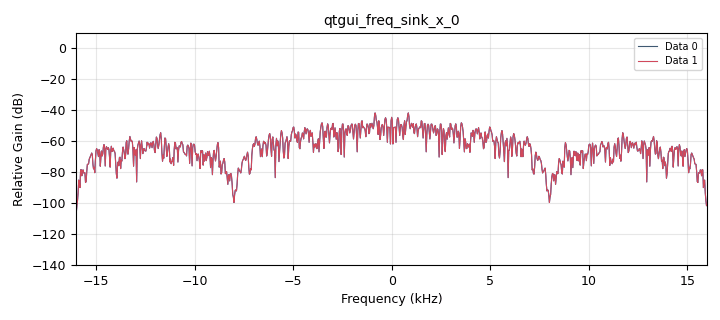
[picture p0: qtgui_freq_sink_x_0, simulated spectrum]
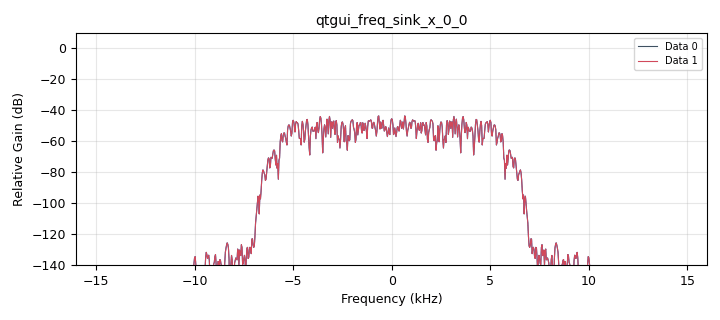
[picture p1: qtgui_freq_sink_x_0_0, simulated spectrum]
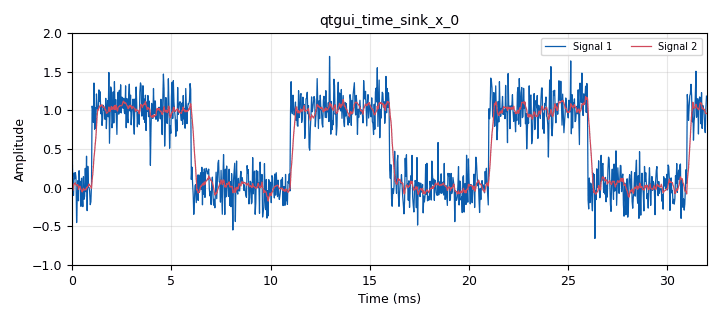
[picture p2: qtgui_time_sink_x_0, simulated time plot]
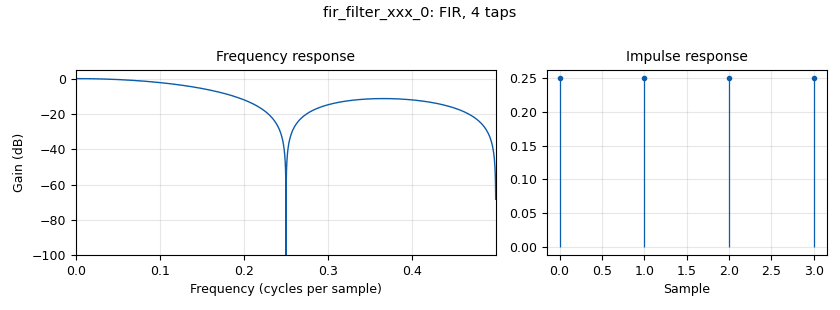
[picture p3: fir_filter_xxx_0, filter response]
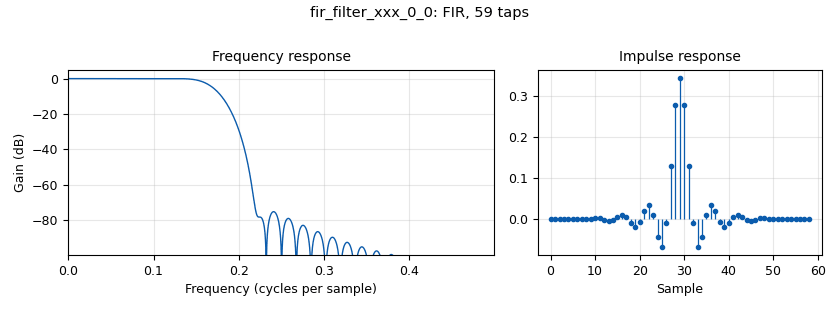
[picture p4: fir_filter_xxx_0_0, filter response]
options:
  parameters:
    generate_options: qt_gui
    id: fir
    output_language: python
    title: Not titled yet
  states: {}

blocks:
- name: samp_rate
  id: variable
  parameters:
    value: '32000'
  states: {}
- name: analog_noise_source_x_0
  id: analog_noise_source_x
  parameters:
    amp: '0.2'
    noise_type: analog.GR_GAUSSIAN
    seed: '0'
    type: float
  states: {}
- name: analog_sig_source_x_0
  id: analog_sig_source_x
  parameters:
    amp: '1'
    freq: '100'
    offset: '0'
    phase: '0'
    samp_rate: samp_rate
    type: float
    waveform: analog.GR_SQR_WAVE
  states: {}
- name: blocks_add_xx_0
  id: blocks_add_xx
  parameters:
    type: float
  states: {}
- name: blocks_throttle_0
  id: blocks_throttle
  parameters:
    samples_per_second: samp_rate
    type: float
  states: {}
- name: blocks_throttle_0_0
  id: blocks_throttle
  parameters:
    samples_per_second: samp_rate
    type: float
  states: {}
- name: epy_block_2
  id: epy_block
  parameters:
    _source_code: |
      """
      Embedded Python Blocks:

      Each time this file is saved, GRC will instantiate the first class it finds
      to get ports and parameters of your block. The arguments to __init__  will
      be the parameters. All of them are required to have default values!
      """

      import numpy as np
      from gnuradio import gr


      class blk(gr.sync_block):  # other base classes are basic_block, decim_block, interp_block

          def __init__(self, filter_taps=[0.25, 0.25, 0.25, 0.25]):  # only default arguments here
              """arguments to this function show up as parameters in GRC"""
              gr.sync_block.__init__(
                  self,
                  name='Custom FIR filter',   # will show up in GRC
                  in_sig=[np.float32],
                  out_sig=[np.float32]
              )
              
              self.filter_taps = filter_taps
              self.N = len(filter_taps)
              self.set_history(self.N)
              
              #Example: The comand set_history(N) appends the first N-1 previous items 
              #to the input buffer (input_items), while the N'th item is the current value. 
              #E.g. if N=4:
              #input_items[0][3] is the beginning of the current input stream.
              #input_items[0][2] is one input older than the current input stream.
              #input_items[0][1] is one input older than input_items[0][2]
              #input_items[0][0] is one input older than input_items[0][1]

          def work(self, input_items, output_items):
              
              #print("length of input vector =" + str(len(input_items[0])))
              #print("length of output vector ="+ str(len(output_items[0])))
              
              for i in range(0, len(output_items[0])):
                  output_items[0][i] = 0
                  for j in range(0, self.N):
                      output_items[0][i] = output_items[0][i] + input_items[0][i + self.N - 1 - j] * self.filter_taps[j]
                       
              return len(output_items[0])
    filter_taps: '[0.25, 0.25, 0.25, 0.25]'
  states: {}
- name: epy_block_2_0
  id: epy_block
  parameters:
    _source_code: |
      """
      Embedded Python Blocks:

      Each time this file is saved, GRC will instantiate the first class it finds
      to get ports and parameters of your block. The arguments to __init__  will
      be the parameters. All of them are required to have default values!
      """

      import numpy as np
      from gnuradio import gr


      class blk(gr.sync_block):  # other base classes are basic_block, decim_block, interp_block

          def __init__(self, filter_taps=[0.25, 0.25, 0.25, 0.25]):  # only default arguments here
              """arguments to this function show up as parameters in GRC"""
              gr.sync_block.__init__(
                  self,
                  name='Custom FIR filter',   # will show up in GRC
                  in_sig=[np.float32],
                  out_sig=[np.float32]
              )
              
              self.filter_taps = filter_taps
              self.N = len(filter_taps)
              self.set_history(self.N)
              
              #Example: The comand set_history(N) appends the first N-1 previous items 
              #to the input buffer (input_items), while the N'th item is the current value. 
              #E.g. if N=4:
              #input_items[0][3] is the beginning of the current input stream.
              #input_items[0][2] is one input older than the current input stream.
              #input_items[0][1] is one input older than input_items[0][2]
              #input_items[0][0] is one input older than input_items[0][1]

          def work(self, input_items, output_items):
              
              #print("length of input vector =" + str(len(input_items[0])))
              #print("length of output vector ="+ str(len(output_items[0])))
              
              for i in range(0, len(output_items[0])):
                  output_items[0][i] = 0
                  for j in range(0, self.N):
                      output_items[0][i] = output_items[0][i] + input_items[0][i + self.N - 1 - j] * self.filter_taps[j]
                       
              return len(output_items[0])
    filter_taps: '[0.1, 0.1, 0.1, 0.1, 0.1, 0.1, 0.1, 0.1, 0.1, 0.1]'
  states: {}
- name: epy_block_2_1
  id: epy_block
  parameters:
    _source_code: |
      """
      Embedded Python Blocks:

      Each time this file is saved, GRC will instantiate the first class it finds
      to get ports and parameters of your block. The arguments to __init__  will
      be the parameters. All of them are required to have default values!
      """

      import numpy as np
      from gnuradio import gr


      class blk(gr.sync_block):  # other base classes are basic_block, decim_block, interp_block

          def __init__(self, filter_taps=[0.25, 0.25, 0.25, 0.25]):  # only default arguments here
              """arguments to this function show up as parameters in GRC"""
              gr.sync_block.__init__(
                  self,
                  name='Custom FIR filter',   # will show up in GRC
                  in_sig=[np.float32],
                  out_sig=[np.float32]
              )
              
              self.filter_taps = filter_taps
              self.N = len(filter_taps)
              self.set_history(self.N)
              
              #Example: The comand set_history(N) appends the first N-1 previous items 
              #to the input buffer (input_items), while the N'th item is the current value. 
              #E.g. if N=4:
              #input_items[0][3] is the beginning of the current input stream.
              #input_items[0][2] is one input older than the current input stream.
              #input_items[0][1] is one input older than input_items[0][2]
              #input_items[0][0] is one input older than input_items[0][1]

          def work(self, input_items, output_items):
              
              #print("length of input vector =" + str(len(input_items[0])))
              #print("length of output vector ="+ str(len(output_items[0])))
              
              for i in range(0, len(output_items[0])):
                  output_items[0][i] = 0
                  for j in range(0, self.N):
                      output_items[0][i] = output_items[0][i] + input_items[0][i + self.N - 1 - j] * self.filter_taps[j]
                       
              return len(output_items[0])
    filter_taps: '[1.6030959545942913e-11,-1.1139562047901563e-05,-3.9146700146375224e-05,2.355114156671334e-05,0.0002193458058172837,0.0002723745710682124,-0.00017417181516066194,-0.0008703289204277098,-0.00080159428762272,0.0006686965934932232,0.0023490863386541605,0.0017374408198520541,-0.0019213478080928326,-0.005237944424152374,-0.003134937724098563,0.004642468877136707,0.010357742197811604,0.004925252869725227,-0.010041072964668274,-0.019021600484848022,-0.006888555828481913,0.020558884367346764,0.034259285777807236,0.008687884546816349,-0.04359493404626846,-0.0680462196469307,-0.009957751259207726,0.12980270385742188,0.2793668806552887,0.34373828768730164,0.2793668806552887,0.12980270385742188,-0.009957751259207726,-0.0680462121963501,-0.04359493404626846,0.008687884546816349,0.034259285777807236,0.020558886229991913,-0.006888555828481913,-0.01902160607278347,-0.0100410720333457,0.004925251938402653,0.010357742197811604,0.00464246841147542,-0.003134937956929207,-0.005237945355474949,-0.0019213482737541199,0.0017374414019286633,0.002349087269976735,0.0006686964188702404,-0.0008015942294150591,-0.0008703286293894053,-0.00017417181516066194,0.0002723745710682124,0.00021934599499218166,2.355117794650141e-05,-3.91468420275487e-05,-1.1139349226141348e-05,1.6030959545942913e-11]'
  states: {}
- name: fir_filter_xxx_0
  id: fir_filter_xxx
  parameters:
    decim: '1'
    taps: '[0.25, 0.25, 0.25, 0.25]'
    type: fff
  states: {}
- name: fir_filter_xxx_0_0
  id: fir_filter_xxx
  parameters:
    decim: '1'
    taps: '[1.6030959545942913e-11,-1.1139562047901563e-05,-3.9146700146375224e-05,2.355114156671334e-05,0.0002193458058172837,0.0002723745710682124,-0.00017417181516066194,-0.0008703289204277098,-0.00080159428762272,0.0006686965934932232,0.0023490863386541605,0.0017374408198520541,-0.0019213478080928326,-0.005237944424152374,-0.003134937724098563,0.004642468877136707,0.010357742197811604,0.004925252869725227,-0.010041072964668274,-0.019021600484848022,-0.006888555828481913,0.020558884367346764,0.034259285777807236,0.008687884546816349,-0.04359493404626846,-0.0680462196469307,-0.009957751259207726,0.12980270385742188,0.2793668806552887,0.34373828768730164,0.2793668806552887,0.12980270385742188,-0.009957751259207726,-0.0680462121963501,-0.04359493404626846,0.008687884546816349,0.034259285777807236,0.020558886229991913,-0.006888555828481913,-0.01902160607278347,-0.0100410720333457,0.004925251938402653,0.010357742197811604,0.00464246841147542,-0.003134937956929207,-0.005237945355474949,-0.0019213482737541199,0.0017374414019286633,0.002349087269976735,0.0006686964188702404,-0.0008015942294150591,-0.0008703286293894053,-0.00017417181516066194,0.0002723745710682124,0.00021934599499218166,2.355117794650141e-05,-3.91468420275487e-05,-1.1139349226141348e-05,1.6030959545942913e-11]'
    type: fff
  states: {}
- name: qtgui_freq_sink_x_0
  id: qtgui_freq_sink_x
  parameters:
    bw: samp_rate
    fc: '0'
    fftsize: '1024'
    nconnections: '2'
    type: float
    wintype: firdes.WIN_BLACKMAN_hARRIS
  states: {}
- name: qtgui_freq_sink_x_0_0
  id: qtgui_freq_sink_x
  parameters:
    bw: samp_rate
    fc: '0'
    fftsize: '1024'
    nconnections: '2'
    type: float
    wintype: firdes.WIN_BLACKMAN_hARRIS
  states: {}
- name: qtgui_time_sink_x_0
  id: qtgui_time_sink_x
  parameters:
    nconnections: '2'
    size: '1024'
    srate: samp_rate
    type: float
    ymax: '2'
  states: {}

connections:
- [analog_noise_source_x_0, '0', blocks_add_xx_0, '0']
- [analog_noise_source_x_0, '0', blocks_throttle_0, '0']
- [analog_sig_source_x_0, '0', blocks_add_xx_0, '1']
- [blocks_add_xx_0, '0', blocks_throttle_0_0, '0']
- [blocks_throttle_0, '0', epy_block_2, '0']
- [blocks_throttle_0, '0', epy_block_2_1, '0']
- [blocks_throttle_0, '0', fir_filter_xxx_0, '0']
- [blocks_throttle_0, '0', fir_filter_xxx_0_0, '0']
- [blocks_throttle_0_0, '0', epy_block_2_0, '0']
- [blocks_throttle_0_0, '0', qtgui_time_sink_x_0, '0']
- [epy_block_2, '0', qtgui_freq_sink_x_0, '1']
- [epy_block_2_0, '0', qtgui_time_sink_x_0, '1']
- [epy_block_2_1, '0', qtgui_freq_sink_x_0_0, '1']
- [fir_filter_xxx_0, '0', qtgui_freq_sink_x_0, '0']
- [fir_filter_xxx_0_0, '0', qtgui_freq_sink_x_0_0, '0']

metadata:
  file_format: 1
